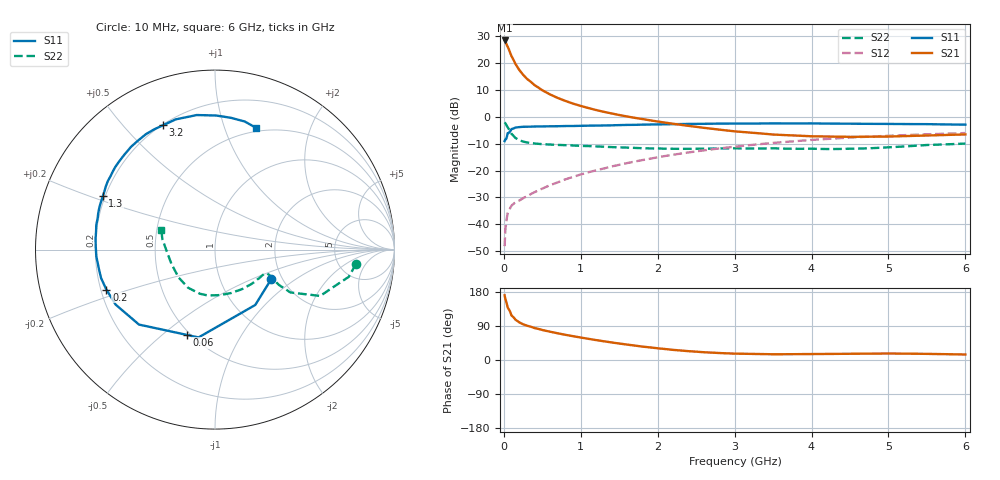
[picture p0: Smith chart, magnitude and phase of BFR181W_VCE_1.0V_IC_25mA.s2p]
! Infineon Technologies  Discrete & RF Semiconductors
! BFR181W
! VCE =  1.0 V,  IC =  25 mA
! Common Emitter S-Parameters:  Jan 2017
# GHz  S  MA  R  50
!  f  S11  S21  S12  S22
! GHz  MAG  ANG  MAG  ANG  MAG  ANG  MAG  ANG
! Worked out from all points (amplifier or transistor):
!   77 points, 10 MHz to 6 GHz, reference 50 ohm
!   highest |S21| = 28.5 dB at 10 MHz (marker M1)
!   |S21| within 3 dB of that: start of sweep to 60.25 MHz
!   unconditionally stable (mu >= 1): start of sweep to 17.32 MHz; 174.7 MHz to end of sweep
!   at 130 MHz: K = 0.83, MSG = 26.7 dB, |S12| = -32.3 dB
!   at 2.2 GHz: K = 1.41, MAG = 2.0 dB, |S12| = -14.1 dB
!   at 6 GHz: K = 1.27, MAG = -3.4 dB, |S12| = -6.0 dB
!   S11 on the Smith chart (normalised r, x): 10 MHz: 1.75, -0.66; 60 MHz: 0.48, -0.61; 200 MHz: 0.22, -0.17; 1.3 GHz: 0.19, +0.22; 3.2 GHz: 0.20, +0.65; 6 GHz: 0.46, +1.28
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0.01  0.3539 -27.9  26.56 170.9  0.0039 67.9  0.7891 -5.9
0.02  0.3814 -54.0  25.43 160.8  0.0079 68.4  0.7606 -11.5
0.05  0.4978 -100.6  20.37 138.4  0.0161 55.4  0.6403 -23.8
0.06  0.5006 -108.4  18.84 135.4  0.0173 53.4  0.6085 -24.7
0.1  0.5949 -135.4  13.5 117.3  0.0222 47.4  0.4832 -29.6
0.15  0.6326 -151.0  9.754 106.6  0.0256 46.5  0.4058 -28.9
0.2  0.6449 -159.8  7.516 99.5  0.0276 48.6  0.3681 -27.2
0.25  0.6542 -166.0  6.112 94.4  0.0305 49.9  0.3476 -26.0
0.3  0.6555 -170.3  5.129 90.6  0.0333 52.7  0.3335 -25.0
0.4  0.6621 -176.6  3.898 84.3  0.0396 58.4  0.3192 -24.7
0.5  0.6646 178.6  3.133 79.2  0.0461 61.8  0.3106 -25.4
0.6  0.6682 174.7  2.625 74.7  0.0534 64.4  0.3053 -26.6
0.7  0.6702 171.4  2.256 70.5  0.0602 67.1  0.3007 -28.3
0.9  0.6766 165.1  1.766 62.8  0.0762 69.4  0.2931 -33.0
1.1  0.6863 159.7  1.461 55.9  0.0929 71.3  0.2857 -38.2
1.3  0.6919 154.6  1.242 49.4  0.1092 71.6  0.2782 -44.1
2.1  0.7276 135.8  0.781 28.9  0.187 68.4  0.2556 -73.8
3.1  0.7504 114.8  0.524 16.5  0.2881 58.0  0.2581 -112.0
3.2  0.7509 112.8  0.51 16.2  0.2978 56.7  0.2573 -115.3
4.1  0.7534 96.1  0.433 15.8  0.3798 45.4  0.2532 -146.4
5.1  0.7375 81.9  0.434 17.0  0.4505 33.1  0.2759 178.0
6  0.7162 71.5  0.471 14.5  0.5001 23.1  0.3181 160.1
